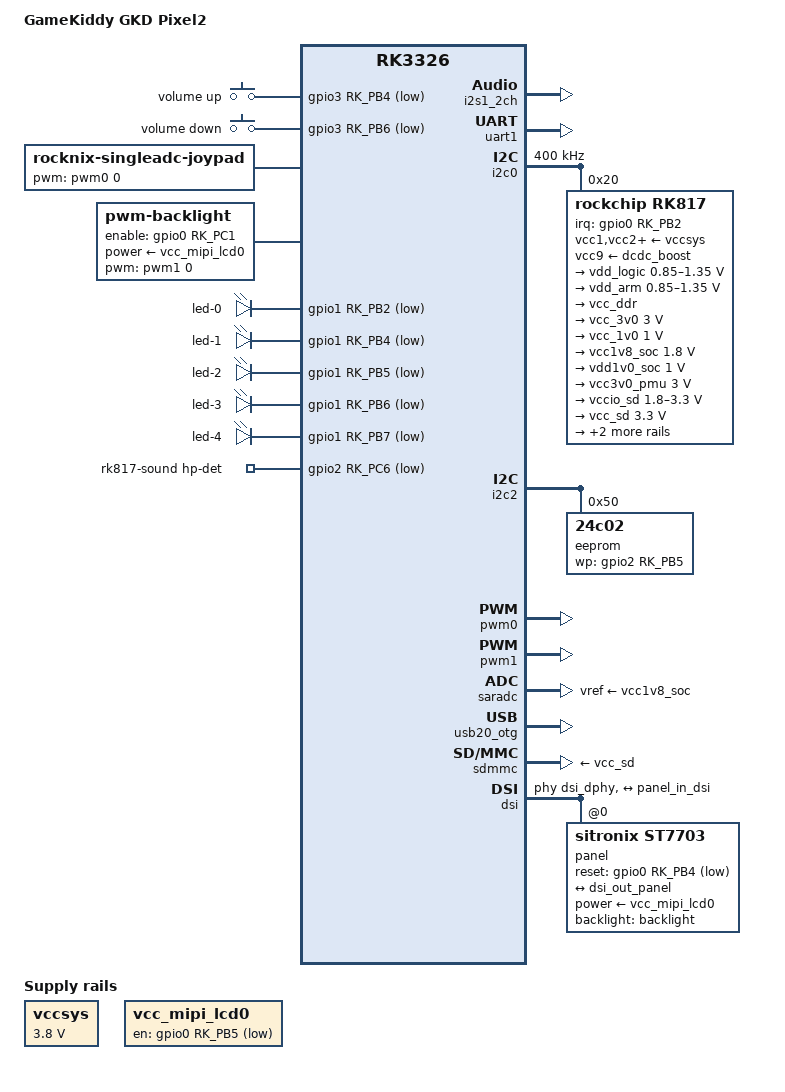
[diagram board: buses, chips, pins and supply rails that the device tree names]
/dts-v1/;

#include <dt-bindings/display/drm_mipi_dsi.h>
#include "rk3326.dtsi"

/ {
	compatible = "GameKiddy,gkd-pixel2", "rockchip,rk3326";
	model = "GameKiddy GKD Pixel2";

    cpus {
        cpu0: cpu@0 {
            cpu-supply = <&vdd_arm>;
        };
    };

	cpu0_opp_table: opp-table-0 {
		rockchip,avs = <1>;
	};

    bus_apll: bus-apll {
        status = "okay";
        bus-supply = <&vdd_logic>;
    };

    display_subsystem: display-subsystem {
        status = "okay";
        logo-memory-region = <&drm_logo>;

        route {
            route_lvds: route-lvds {
                status = "disabled";
                logo,uboot = "logo.bmp";
                logo,kernel = "logo_kernel.bmp";
                logo,mode = "center";
                charge_logo,mode = "center";
                connect = <&vopb_out_lvds>;
            };

            route_dsi: route-dsi {
                status = "okay";
                logo,uboot = "logo.bmp";
                logo,kernel = "logo_kernel.bmp";
                logo,mode = "center";
                charge_logo,mode = "center";
                connect = <&vopb_out_dsi>;
            };

            route_rgb: route-rgb {
                status = "disabled";
                logo,uboot = "logo.bmp";
                logo,kernel = "logo_kernel.bmp";
                logo,mode = "center";
                charge_logo,mode = "center";
                connect = <&vopb_out_rgb>;
            };
        };
    };

    rockchip_suspend: rockchip-suspend {
        status = "okay";
    };

	pmugrf: syscon@ff010000 {
		pmu_io_domains: io-domains {
			status = "okay";
			pmuio1-supply = <&vcc3v0_pmu>;
			pmuio2-supply = <&vcc3v0_pmu>;
		};

		reboot_mode: reboot-mode {
			mode-charge = <BOOT_CHARGING>;
		};
	};

	i2s1_2ch: i2s@ff070000 {
		status = "okay";
	};

    rng: rng@ff0b0000 {
        status = "okay";
    };

    grf: syscon@ff140000 {
        io_domains: io-domains {
            status = "okay";
            vccio1-supply = <&vcc_3v0>;
            vccio2-supply = <&vccio_sd>;
            vccio3-supply = <&vcc_3v0>;
            vccio4-supply = <&vcc_3v0>;
            vccio5-supply = <&vcc_3v0>;
            vccio6-supply = <&vcc_3v0>;
        };

        lvds: lvds {
            phys = <&dsi_dphy>;

            ports {
                #address-cells = <1>;
                #size-cells = <0>;

                port@0 {
                    reg = <0>;
                    #address-cells = <1>;
                    #size-cells = <0>;

                    lvds_vopb_in: endpoint@0 {
                        reg = <0>;
                        remote-endpoint = <&vopb_out_lvds>;
                    };
                };
            };
        };

        rgb: rgb {
            ports {
                #address-cells = <1>;
                #size-cells = <0>;

                port@0 {
                    reg = <0>;
                    #address-cells = <1>;
                    #size-cells = <0>;

                    rgb_in_vopb: endpoint@0 {
                        reg = <0>;
                        remote-endpoint = <&vopb_out_rgb>;
                    };
                };
            };
        };
    };

    uart1: serial@ff158000 {
        pinctrl-0 = <&uart1_xfer &uart1_cts>;
        status = "okay";
    };

    i2c0: i2c@ff180000 {
        status = "okay";
        clock-frequency = <400000>;
        i2c-scl-rising-time-ns = <280>;
        i2c-scl-falling-time-ns = <16>;

        rk817: pmic@20 {
            compatible = "rockchip,rk817";
            reg = <0x20>;
            interrupt-parent = <&gpio0>;
            interrupts = <RK_PB2 IRQ_TYPE_LEVEL_LOW>;
            pinctrl-names = "default", "pmic-sleep", "pmic-power-off", "pmic-reset";
            pinctrl-0 = <&pmic_int>;
            pinctrl-1 = <&soc_slppin_slp &rk817_slppin_slp>;
            pinctrl-2 = <&soc_slppin_gpio &rk817_slppin_pwrdn>;
            pinctrl-3 = <&soc_slppin_rst &rk817_slppin_rst>;
            rockchip,system-power-controller;
            wakeup-source;
            #clock-cells = <1>;
            clock-output-names = "rk808-clkout1", "rk808-clkout2";
            pmic-reset-func = <1>;
            vcc1-supply = <&vccsys>;
            vcc2-supply = <&vccsys>;
            vcc3-supply = <&vccsys>;
            vcc4-supply = <&vccsys>;
            vcc5-supply = <&vccsys>;
            vcc6-supply = <&vccsys>;
            vcc7-supply = <&vccsys>;
            vcc8-supply = <&vccsys>;
            vcc9-supply = <&dcdc_boost>;

            pwrkey {
                status = "okay";
            };

            pinctrl_rk8xx: pinctrl_rk8xx {
                gpio-controller;
                #gpio-cells = <2>;

                rk817_ts_gpio1: rk817_ts_gpio1 {
                    pins = "gpio_ts";
                    function = "pin_fun1";
                };

                rk817_gt_gpio2: rk817_gt_gpio2 {
                    pins = "gpio_gt";
                    function = "pin_fun1";
                };

                rk817_pin_ts: rk817_pin_ts {
                    pins = "gpio_ts";
                    function = "pin_fun0";
                };

                rk817_pin_gt: rk817_pin_gt {
                    pins = "gpio_gt";
                    function = "pin_fun0";
                };

                rk817_slppin_null: rk817_slppin_null {
                    pins = "gpio_slp";
                    function = "pin_fun0";
                };

                rk817_slppin_slp: rk817_slppin_slp {
                    pins = "gpio_slp";
                    function = "pin_fun1";
                };

                rk817_slppin_pwrdn: rk817_slppin_pwrdn {
                    pins = "gpio_slp";
                    function = "pin_fun2";
                };

                rk817_slppin_rst: rk817_slppin_rst {
                    pins = "gpio_slp";
                    function = "pin_fun3";
                };
            };

            regulators {
                vdd_logic: DCDC_REG1 {
                    regulator-always-on;
                    regulator-boot-on;
                    regulator-min-microvolt = <850000>;
                    regulator-max-microvolt = <1350000>;
                    regulator-ramp-delay = <6001>;
                    regulator-initial-mode = <2>;
                    regulator-name = "vdd_logic";

                    regulator-state-mem {
                        regulator-on-in-suspend;
                        regulator-suspend-microvolt = <950000>;
                    };
                };

                vdd_arm: DCDC_REG2 {
                    regulator-always-on;
                    regulator-boot-on;
                    regulator-min-microvolt = <850000>;
                    regulator-max-microvolt = <1350000>;
                    regulator-ramp-delay = <6001>;
                    regulator-initial-mode = <2>;
                    regulator-name = "vdd_arm";

                    regulator-state-mem {
                        regulator-off-in-suspend;
                        regulator-suspend-microvolt = <950000>;
                    };
                };

                vcc_ddr: DCDC_REG3 {
                    regulator-always-on;
                    regulator-boot-on;
                    regulator-initial-mode = <2>;
                    regulator-name = "vcc_ddr";

                    regulator-state-mem {
                        regulator-on-in-suspend;
                    };
                };

                vcc_3v0: DCDC_REG4 {
                    regulator-always-on;
                    regulator-boot-on;
                    regulator-min-microvolt = <3000000>;
                    regulator-max-microvolt = <3000000>;
                    regulator-initial-mode = <2>;
                    regulator-name = "vcc_3v0";

                    regulator-state-mem {
                        regulator-off-in-suspend;
                        regulator-suspend-microvolt = <3000000>;
                    };
                };

                vcc_1v0: LDO_REG1 {
                    regulator-always-on;
                    regulator-boot-on;
                    regulator-min-microvolt = <1000000>;
                    regulator-max-microvolt = <1000000>;
                    regulator-name = "vcc_1v0";

                    regulator-state-mem {
                        regulator-off-in-suspend;
                        regulator-suspend-microvolt = <1000000>;
                    };
                };

                vcc1v8_soc: LDO_REG2 {
                    regulator-always-on;
                    regulator-boot-on;
                    regulator-min-microvolt = <1800000>;
                    regulator-max-microvolt = <1800000>;
                    regulator-name = "vcc1v8_soc";

                    regulator-state-mem {
                        regulator-on-in-suspend;
                        regulator-suspend-microvolt = <1800000>;
                    };
                };

                vdd1v0_soc: LDO_REG3 {
                    regulator-always-on;
                    regulator-boot-on;
                    regulator-min-microvolt = <1000000>;
                    regulator-max-microvolt = <1000000>;
                    regulator-name = "vcc1v0_soc";

                    regulator-state-mem {
                        regulator-on-in-suspend;
                        regulator-suspend-microvolt = <1000000>;
                    };
                };

                vcc3v0_pmu: LDO_REG4 {
                    regulator-always-on;
                    regulator-boot-on;
                    regulator-min-microvolt = <3000000>;
                    regulator-max-microvolt = <3000000>;
                    regulator-name = "vcc3v0_pmu";

                    regulator-state-mem {
                        regulator-on-in-suspend;
                        regulator-suspend-microvolt = <3000000>;
                    };
                };

                vccio_sd: LDO_REG5 {
                    regulator-always-on;
                    regulator-boot-on;
                    regulator-min-microvolt = <1800000>;
                    regulator-max-microvolt = <3300000>;
                    regulator-name = "vccio_sd";

                    regulator-state-mem {
                        regulator-off-in-suspend;
                        regulator-suspend-microvolt = <3300000>;
                    };
                };

                vcc_sd: LDO_REG6 {
                    regulator-min-microvolt = <3300000>;
                    regulator-max-microvolt = <3300000>;
                    regulator-boot-on;
                    regulator-name = "vcc_sd";

                    regulator-state-mem {
                        regulator-off-in-suspend;
                        regulator-suspend-microvolt = <3300000>;
                    };
                };

                dcdc_boost: BOOST {
                    regulator-always-on;
                    regulator-boot-on;
                    regulator-min-microvolt = <5000000>;
                    regulator-max-microvolt = <5000000>;
                    regulator-name = "boost";

                    regulator-state-mem {
                        regulator-off-in-suspend;
                    };
                };

                otg_switch: OTG_SWITCH {
                    regulator-name = "otg_switch";

                    regulator-state-mem {
                        regulator-off-in-suspend;
                    };
                };
            };

            battery {
                compatible = "rk817,battery";
                ocv_table = <3444 3643 3694 3708 3738 3754 3776
                    3790 3805 3826 3848 3878 3921 3967
                    4011 4062 4107 4163 4217 4276 4333>;
                design_capacity = <1730>;
                design_qmax = <1903>;
                bat_res = <111>;
                sleep_enter_current = <300>;
                sleep_exit_current = <300>;
                sleep_filter_current = <100>;
                power_off_thresd = <3400>;
                zero_algorithm_vol = <3950>;
                max_soc_offset = <60>;
                monitor_sec = <5>;
                virtual_power = <0>;
                sample_res = <10>;
            };

            charger {
                compatible = "rk817,charger";
                min_input_voltage = <4500>;
                max_input_current = <2000>;
                max_chrg_current = <2000>;
                max_chrg_voltage = <4350>;
                chrg_term_mode = <0>;
                chrg_finish_cur = <300>;
                virtual_power = <0>;
                sample_res = <10>;
                pinctrl-names = "default";
                extcon = <&u2phy>;
            };

            rk817_codec: codec {
                #sound-dai-cells = <0>;
                compatible = "rockchip,rk817-codec";
                clocks = <&cru SCLK_I2S1_OUT>;
                clock-names = "mclk";
                pinctrl-names = "default";
                pinctrl-0 = <&i2s1_2ch_mclk>;
                hp-volume = <10>;
                spk-volume = <3>;
                mic-in-differential;
                status = "okay";
            };
        };
    };

    i2c2: i2c@ff1a0000 {
        status = "okay";

        eeprom@50 {
            compatible = "24c02";
            reg = <0x50>;
            status = "okay";
            pinctrl-names = "default";
            pinctrl-0 = <&eeprom_wp_gpio>;
            wp-gpio = <&gpio2 RK_PB5 GPIO_ACTIVE_HIGH>;
        };
    };

    pwm0: pwm@ff200000 {
        status = "okay";
    };

    pwm1: pwm@ff200010 {
        status = "okay";
    };

    tsadc: tsadc@ff280000 {
        status = "okay";
	};

    saradc: saradc@ff288000 {
        status = "okay";
        vref-supply = <&vcc1v8_soc>;
	};

	usb2phy_grf: syscon@ff2c0000 {
		u2phy: usb2phy@100 {
			status = "okay";

			u2phy_host: host-port {
				status = "okay";
			};

			u2phy_otg: otg-port {
				status = "okay";
			};
		};
	};

	video_phy: dsi_dphy: phy@ff2e0000 {
		status = "okay";
	};

	mipi_dphy_rx0: mipi-dphy-rx0@ff2f0000 {
		status = "okay";
	};

	usb20_otg: usb@ff300000 {
		status = "okay";
	};

    sdmmc: dwmmc@ff370000 {
        status = "okay";
        cap-mmc-highspeed;
        cap-sd-highspeed;
        supports-sd;
        card-detect-delay = <800>;
        ignore-pm-notify;
        disable-wp;
        sd-uhs-sdr12;
        sd-uhs-sdr25;
        sd-uhs-sdr50;
        sd-uhs-sdr104;
        vqmmc-supply = <&vccio_sd>;
        vmmc-supply = <&vcc_sd>;
	};

    gpu: gpu@ff400000 {
        mali-supply = <&vdd_logic>;
        status = "okay";
	};

	mpp_srv: mpp-srv {
		status = "okay";
	};

	vdpu: vdpu@ff442400 {
		status = "okay";
	};

	vpu_mmu: iommu@ff442800 {
		status = "okay";
	};

	vepu: vepu@ff442000 {
		status = "okay";
	};

	hevc: hevc@ff440000 {
		status = "okay";
	};

    hevc_mmu: iommu@ff440440 {
		status = "okay";
	};

    dsi: dsi@ff450000 {
        phys = <&dsi_dphy>;
        status = "okay";

        ports {
            port@0 {
                dsi_in_vopb: endpoint@0 {
                    status = "okay";
                };
            };

            port@1 {
                reg = <0x1>;
                dsi_out_panel: endpoint {
                    remote-endpoint = <&panel_in_dsi>;
                };
            };
        };

        panel@0 {
            compatible = "sitronix,st7703", "simple-panel-dsi";
            reg = <0x0>;
            power-supply = <&vcc_mipi_lcd0>;
            backlight = <&backlight>;
            reset-gpios = <&gpio0 RK_PB4 GPIO_ACTIVE_LOW>;
            pinctrl-names = "default";
            pinctrl-0 = <&dsi0_lcd_gpio>;
            rotation = <270>;

            prepare-delay-ms = <2>;
            reset-delay-ms = <1>;
            init-delay-ms = <20>;
            enable-delay-ms = <120>;
            disable-delay-ms = <50>;
            unprepare-delay-ms = <20>;

            width-mm = <68>;
            height-mm = <121>;

            dsi,flags = <(MIPI_DSI_MODE_VIDEO | MIPI_DSI_MODE_VIDEO_BURST | MIPI_DSI_MODE_LPM | MIPI_DSI_MODE_NO_EOT_PACKET)>;
            dsi,format = <MIPI_DSI_FMT_RGB888>;
            dsi,lanes = <2>;

            panel-init-sequence = [
                39 00 06 ff 77 01 00 00 13
                15 00 02 ef 08
                39 00 06 ff 77 01 00 00 10
                39 00 03 c0 4f 00
                39 00 03 c1 10 0c
                39 00 03 c2 01 14
                15 00 02 cc 10
                39 00 11 b0 00 0b 13 0d 10 07 02 08 07 1f 04 11 0f 28 2f 1f
                39 00 11 b1 00 0c 13 0c 10 05 02 08 08 1e 05 13 11 27 30 1f
                39 00 06 ff 77 01 00 00 11
                15 00 02 b0 4d
                15 00 02 b1 4d
                15 00 02 b2 87
                15 00 02 b3 80
                15 00 02 b5 45
                15 00 02 b7 85
                15 00 02 b8 20
                15 00 02 c0 09
                15 00 02 c1 78
                15 00 02 c2 78
                15 64 02 d0 88
                39 00 04 e0 00 00 02
                39 00 0c e1 04 b0 06 b0 05 b0 07 b0 00 44 44
                39 00 0d e2 20 20 44 44 96 a0 00 00 96 a0 00 00
                39 00 05 e3 00 00 22 22
                39 00 03 e4 44 44
                39 00 11 e5 0c 90 b0 a0 0e 92 b0 a0 08 8c b0 a0 0a 8e b0 a0
                39 00 05 e6 00 00 22 22
                39 00 03 e7 44 44
                39 00 11 e8 0d 91 b0 a0 0f 93 b0 a0 09 8d b0 a0 0b 8f b0 a0
                39 00 03 e9 36 00
                39 00 08 eb 00 00 e4 e4 44 88 40
                39 00 11 ed c1 a2 bf 0f 67 45 ff ff ff ff 54 76 f0 fb 2a 1c
                39 00 07 ef 10 0d 04 08 3f 1f
                39 00 06 ff 77 01 00 00 13
                39 00 03 e8 00 0e
                39 00 06 ff 77 01 00 00 00
                05 78 01 11
                39 00 06 ff 77 01 00 00 13
                39 0a 03 e8 00 0c
                39 00 03 e8 00 00
                39 00 06 ff 77 01 00 00 00
                05 32 01 29
            ];

            panel-exit-sequence = [
                05 10 01 28
                05 78 01 10
            ];

            display-timings {
                native-mode = <&timing0>;
                timing0: timing0 {
                    clock-frequency = <25000000>;
                    hactive = <480>;
                    vactive = <640>;
                    hfront-porch = <40>;
                    hsync-len = <10>;
                    hback-porch = <40>;
                    vfront-porch = <40>;
                    vsync-len = <10>;
                    vback-porch = <40>;
                    hsync-active = <0>;
                    vsync-active = <0>;
                    de-active = <0>;
                    pixelclk-active = <0>;
                };
            };

            ports {
                #address-cells = <1>;
                #size-cells = <0>;

                port@0 {
                    reg = <0x0>;

                    panel_in_dsi: endpoint {
                        remote-endpoint = <&dsi_out_panel>;
                    };
                };
            };
        };
    };

	vopb: vop@ff460000 {
		status = "okay";
	};

	vopb_mmu: iommu@ff460f00 {
		status = "okay";
	};

	rk_rga: rk_rga@ff480000 {
		status = "okay";
	};

	vip_mmu: iommu@ff490800 {
		status = "okay";
	};

	rkisp1: rkisp1@ff4a0000 {
		status = "okay";
	};

    isp_mmu: iommu@ff4a8000 {
        rk_iommu,disable_reset_quirk;
		status = "okay";
	};

	dfi: dfi@ff610000 {
		status = "okay";
	};

    dmc: dmc {
        status = "okay";
        center-supply = <&vdd_logic>;
	};

	 px30s_dmc_opp_table: px30s-dmc-opp-table {
		opp-666000000 {
			status = "disabled";
		};

        opp-1056000000 {
            status = "okay";
        };
	};

	pinctrl {
		headphone {
			hp_det: hp-det {
				rockchip,pins = <2 RK_PC6 RK_FUNC_GPIO &pcfg_pull_none>;
			};
		};

		gpio-led {
			led_pins: led-pins {
				rockchip,pins =
					<1 RK_PB2 RK_FUNC_GPIO &pcfg_pull_none>,
					<1 RK_PB4 RK_FUNC_GPIO &pcfg_pull_none>,
					<1 RK_PB5 RK_FUNC_GPIO &pcfg_pull_none>,
					<1 RK_PB6 RK_FUNC_GPIO &pcfg_pull_none>,
					<1 RK_PB7 RK_FUNC_GPIO &pcfg_pull_none>;
			};
		};

		pmic {
			pmic_int: pmic_int {
				rockchip,pins = <0 RK_PB2 RK_FUNC_GPIO &pcfg_pull_up>;
			};

			soc_slppin_gpio: soc_slppin_gpio {
				rockchip,pins = <0 RK_PA4 RK_FUNC_GPIO &pcfg_output_low>;
			};

			soc_slppin_slp: soc_slppin_slp {
				rockchip,pins = <0 RK_PA4 1 &pcfg_pull_none>;
			};

			soc_slppin_rst: soc_slppin_rst {
				rockchip,pins = <0 RK_PA4 2 &pcfg_pull_none>;
			};
		};

		btns {
			btn_pins: btn-pins {
				rockchip,pins =
					<3 RK_PB5 RK_FUNC_GPIO &pcfg_pull_up>,
					<3 RK_PC4 RK_FUNC_GPIO &pcfg_pull_up>,
					<3 RK_PB3 RK_FUNC_GPIO &pcfg_pull_up>,
					<3 RK_PA4 RK_FUNC_GPIO &pcfg_pull_up>,
					<3 RK_PD1 RK_FUNC_GPIO &pcfg_pull_up>,
					<3 RK_PD2 RK_FUNC_GPIO &pcfg_pull_up>,
					<3 RK_PA5 RK_FUNC_GPIO &pcfg_pull_up>,
					<3 RK_PA6 RK_FUNC_GPIO &pcfg_pull_up>,
					<3 RK_PC5 RK_FUNC_GPIO &pcfg_pull_up>,
					<3 RK_PD3 RK_FUNC_GPIO &pcfg_pull_up>,
					<3 RK_PC2 RK_FUNC_GPIO &pcfg_pull_up>,
					<3 RK_PC0 RK_FUNC_GPIO &pcfg_pull_up>,
					<3 RK_PC1 RK_FUNC_GPIO &pcfg_pull_up>,
					<3 RK_PB2 RK_FUNC_GPIO &pcfg_pull_up>,
					<3 RK_PC3 RK_FUNC_GPIO &pcfg_pull_up>;
			};
		};

		eeprom {
			eeprom_wp_gpio: eeprom-wp-gpio {
				rockchip,pins = <2 RK_PB5 RK_FUNC_GPIO &pcfg_pull_up>;
			};
		};

		dsi0-lcd {
			dsi0_lcd_gpio: dsi0-lcd-gpio {
				rockchip,pins =
					<0 RK_PC1 RK_FUNC_GPIO &pcfg_pull_none>,
					<0 RK_PB4 RK_FUNC_GPIO &pcfg_pull_up>;
			};
		};

        vcc-mipi-lcd {
            vcc_mipi_lcd_n: vcc-mipi-lcd-n {
                rockchip,pins = <0 RK_PB5 RK_FUNC_GPIO &pcfg_pull_none>;
            };
        };

		keys {
			volume_gpio: volume-gpio {
				rockchip,pins =
					<3 RK_PB4 RK_FUNC_GPIO &pcfg_pull_up>,
					<3 RK_PB6 RK_FUNC_GPIO &pcfg_pull_up>;
			};
		};
	};

	chosen { };

	fiq_debugger: fiq-debugger {
        compatible = "rockchip,fiq-debugger";
        rockchip,serial-id = <2>;
        rockchip,wake-irq = <0>;
        rockchip,irq-mode-enable = <0>;
        rockchip,baudrate = <1500000>;
        interrupts = <GIC_SPI 127 IRQ_TYPE_LEVEL_LOW>;
        pinctrl-names = "default";
        pinctrl-0 = <&uart2m1_xfer>;
        status = "okay";
	};

	reserved_memory: reserved-memory {
		#address-cells = <0x02>;
		#size-cells = <0x02>;
		ranges;

		drm_logo: drm-logo@00000000 {
			compatible = "rockchip,drm-logo";
			reg = <0x00 0x00 0x00 0x00>;
		};

		ramoops: ramoops@110000 {
            compatible = "ramoops";
            reg = <0x0 0x110000 0 0xf0000>;
            record-size = <131072>;
            console-size = <524288>;
            ftrace-size = <0>;
            pmsg-size = <327680>;
		};
	};

    keys: gpio-keys {
        compatible = "gpio-keys";
        pinctrl-names = "default";
        pinctrl-0 = <&volume_gpio>;
        autorepeat;

        vol-up-key {
            gpios = <&gpio3 RK_PB4 GPIO_ACTIVE_LOW>;
            linux,code = <115>;
            label = "volume up";
        };

        vol-down-key {
            gpios = <&gpio3 RK_PB6 GPIO_ACTIVE_LOW>;
            linux,code = <114>;
            label = "volume down";
        };
	};

	joypad: gamekiddy-joypad {
		compatible = "rocknix-singleadc-joypad";
		joypad-name = "pixel2_joypad";
		joypad-vendor = <0x01>;
		joypad-product = <0x2102>;
		joypad-revision = <0x100>;
        status = "okay";
        pinctrl-names = "default";
        pinctrl-0 = <&btn_pins>;
        amux-count = <0>;
        poll-interval = <10>;
        pwms = <&pwm0 0 1000000000 0>;
        pwm-names = "enable";

        sw1 {
            gpios = <&gpio3 RK_PB5 GPIO_ACTIVE_LOW>;
            label = "GPIO DPAD-UP";
            linux,code = <544>;
        };

        sw2 {
            gpios = <&gpio3 RK_PC4 GPIO_ACTIVE_LOW>;
            label = "GPIO DPAD-DOWN";
            linux,code = <545>;
        };

        sw3 {
            gpios = <&gpio3 RK_PB3 GPIO_ACTIVE_LOW>;
            label = "GPIO DPAD-LEFT";
            linux,code = <546>;
        };

        sw4 {
            gpios = <&gpio3 RK_PA4 GPIO_ACTIVE_LOW>;
            label = "GPIO DPAD-RIGHT";
            linux,code = <547>;
        };

        sw5 {
            gpios = <&gpio3 RK_PD1 GPIO_ACTIVE_LOW>;
            label = "GPIO KEY BTN-A";
            linux,code = <305>;
        };

        sw6 {
            gpios = <&gpio3 RK_PD2 GPIO_ACTIVE_LOW>;
            label = "GPIO BTN-B";
            linux,code = <304>;
        };

        sw7 {
            gpios = <&gpio3 RK_PA6 GPIO_ACTIVE_LOW>;
            label = "GPIO BTN-Y";
            linux,code = <308>;
        };

        sw8 {
            gpios = <&gpio3 RK_PA5 GPIO_ACTIVE_LOW>;
            label = "GPIO BTN-X";
            linux,code = <307>;
        };

        sw9 {
            gpios = <&gpio3 RK_PC5 GPIO_ACTIVE_LOW>;
            label = "GPIO F1";
            linux,code = <704>;
        };

        sw11 {
            gpios = <&gpio3 RK_PC2 GPIO_ACTIVE_LOW>;
            label = "GPIO BTN_SELECT";
            linux,code = <314>;
        };

        sw12 {
            gpios = <&gpio3 RK_PD3 GPIO_ACTIVE_LOW>;
            label = "GPIO BTN_START";
            linux,code = <315>;
        };

        sw15 {
            gpios = <&gpio3 RK_PC0 GPIO_ACTIVE_LOW>;
            label = "GPIO TOP-LEFT";
            linux,code = <310>;
        };

        sw16 {
            gpios = <&gpio3 RK_PB2 GPIO_ACTIVE_LOW>;
            label = "GPIO TOP-RIGHT";
            linux,code = <311>;
        };

        sw20 {
            gpios = <&gpio3 RK_PC1 GPIO_ACTIVE_LOW>;
            label = "GPIO TOP-LEFT2";
            linux,code = <312>;
        };

        sw21 {
            gpios = <&gpio3 RK_PC3 GPIO_ACTIVE_LOW>;
            label = "GPIO TOP-RIGHT2";
            linux,code = <313>;
        };
	};

    backlight: backlight {
        compatible = "pwm-backlight";
        power-supply = <&vcc_mipi_lcd0>;
        pwms = <&pwm1 0 25000 1>;
        brightness-levels = <
              0   1   2   3   4   5   6   7
              8   9  10  11  12  13  14  15
             16  17  18  19  20  21  22  23
             24  25  26  27  28  29  30  31
             32  33  34  35  36  37  38  39
             40  41  42  43  44  45  46  47
             48  49  50  51  52  53  54  55
             56  57  58  59  60  61  62  63
             64  65  66  67  68  69  70  71
             72  73  74  75  76  77  78  79
             80  81  82  83  84  85  86  87
             88  89  90  91  92  93  94  95
             96  97  98  99 100 101 102 103
            104 105 106 107 108 109 110 111
            112 113 114 115 116 117 118 119
            120 121 122 123 124 125 126 127
            128 129 130 131 132 133 134 135
            136 137 138 139 140 141 142 143
            144 145 146 147 148 149 150 151
            152 153 154 155 156 157 158 159
            160 161 162 163 164 165 166 167
            168 169 170 171 172 173 174 175
            176 177 178 179 180 181 182 183
            184 185 186 187 188 189 190 191
            192 193 194 195 196 197 198 199
            200 201 202 203 204 205 206 207
            208 209 210 211 212 213 214 215
            216 217 218 219 220 221 222 223
            224 225 226 227 228 229 230 231
            232 233 234 235 236 237 238 239
            240 241 242 243 244 245 246 247
            248 249 250 251 252 253 254 255>;
        default-brightness-level = <200>;
        enable-gpios = <&gpio0 RK_PC1 GPIO_ACTIVE_HIGH>;
	};

    leds {
        compatible = "gpio-leds";
        pinctrl-0 = <&led_pins>;
        pinctrl-names = "default";

        led-0 {
            default-state = "off";
            gpios = <&gpio1 RK_PB2 GPIO_ACTIVE_LOW>;
        };

        led-1 {
            default-state = "off";
            gpios = <&gpio1 RK_PB4 GPIO_ACTIVE_LOW>;
        };

        led-2 {
            default-state = "off";
            gpios = <&gpio1 RK_PB5 GPIO_ACTIVE_LOW>;
        };

        led-3 {
            default-state = "off";
            gpios = <&gpio1 RK_PB6 GPIO_ACTIVE_LOW>;
        };

        led-4 {
            default-state = "off";
            gpios = <&gpio1 RK_PB7 GPIO_ACTIVE_LOW>;
        };
    };

    rk817-sound {
        status = "okay";
        compatible = "rockchip,multicodecs-card";
        rockchip,card-name = "rockchip-rk817";
		hp-det-gpio = <&gpio2 RK_PC6 GPIO_ACTIVE_LOW>;
        rockchip,format = "i2s";
        rockchip,mclk-fs = <256>;
        rockchip,cpu = <&i2s1_2ch>;
        rockchip,codec = <&rk817_codec>;
		pinctrl-names = "default";
		pinctrl-0 = <&hp_det>;
	};

    vccsys: vccsys {
        compatible = "regulator-fixed";
        regulator-name = "vcc3v8_sys";
        regulator-always-on;
        regulator-boot-on;
        regulator-min-microvolt = <3800000>;
        regulator-max-microvolt = <3800000>;
	};

    vcc_mipi_lcd0: vcc-mipi-lcd0 {
        status = "okay";
        compatible = "regulator-fixed";
        regulator-name = "vcc_mipi_lcd0";
        gpio = <&gpio0 RK_PB5 GPIO_ACTIVE_LOW>;
		pinctrl-0 = <&vcc_mipi_lcd_n>;
		pinctrl-names = "default";
        regulator-boot-on;

		regulator-state-mem {
			regulator-off-in-suspend;
		};
	};
};
